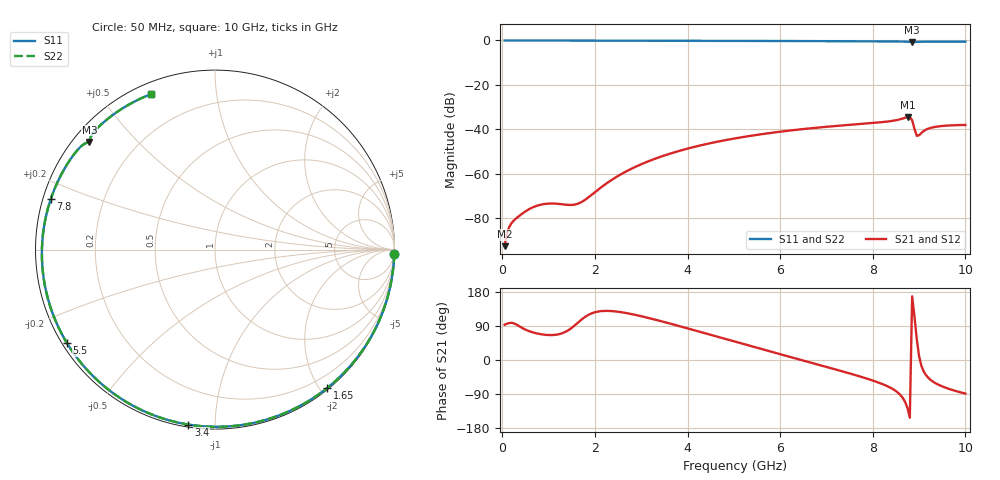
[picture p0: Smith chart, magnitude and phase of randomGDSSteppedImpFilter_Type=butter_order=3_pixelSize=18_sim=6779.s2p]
! freq	dB(S11)	phase(S11)	dB(S12)	phase(S12)
!  dB(S21)	phase(S21)	dB(S22)	phase(S22)
!S-par simulation data
#  GHz  S  DB  R 50
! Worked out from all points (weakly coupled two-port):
!   200 points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, 50 MHz to 10 GHz, reference 50 ohm
!   highest |S21| = -34.42 dB at 8.75 GHz (marker M1); lowest = -92.6 dB at 50 MHz (marker M2)
!   lowest |S11| = -0.7 dB at 8.85 GHz (marker M3), VSWR 24.42, Z = 2.33 + j18.4 ohm
!   |S11| at or under -10 dB: nowhere
!   |S22| runs from -0.7 to 0.0 dB; largest |S21 - S12| = 0
!   S11 on the Smith chart (normalised r, x): 50 MHz: 1, -74; 1.65 GHz: 0.02, -2.10; 3.4 GHz: 0.01, -0.86; 5.5 GHz: 0.01, -0.29; 7.8 GHz: 0.02, +0.15; 10 GHz: 0.05, +0.67
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0.05  -0.00 -1.5  -92.56 93.1  -92.56 93.1  -0.00 -1.5
0.3  -0.02 -9.5  -80.04 93.9  -80.04 93.9  -0.02 -9.5
0.6  -0.03 -18.9  -75.68 75.2  -75.68 75.2  -0.03 -18.9
0.85  -0.03 -26.7  -73.81 67.7  -73.81 67.7  -0.03 -26.7
1.5  -0.06 -46.5  -74.01 84.9  -74.01 84.9  -0.06 -46.5
1.65  -0.06 -50.9  -73.31 100.4  -73.31 100.4  -0.06 -50.9
1.75  -0.07 -53.8  -72.21 110.4  -72.21 110.4  -0.07 -53.8
2.55  -0.09 -76.4  -60.35 126.5  -60.35 126.5  -0.09 -76.4
3.4  -0.12 -98.7  -52.46 103.4  -52.46 103.4  -0.12 -98.7
4.15  -0.15 -117.0  -47.87 78.4  -47.87 78.4  -0.15 -117.0
5.05  -0.19 -137.7  -43.97 47.5  -43.97 47.5  -0.19 -137.7
5.5  -0.22 -147.6  -42.47 32.2  -42.47 32.2  -0.22 -147.6
6.7  -0.29 -173.5  -39.44 -8.1  -39.44 -8.1  -0.29 -173.5
7.8  -0.38 162.8  -37.47 -46.3  -37.47 -46.3  -0.38 162.8
8.35  -0.43 150.5  -36.40 -71.2  -36.40 -71.2  -0.43 150.5
8.75  -0.57 141.0  -34.42 -127.0  -34.42 -127.0  -0.57 141.0
8.8  -0.64 140.0  -34.43 -152.2  -34.43 -152.2  -0.64 140.0
8.85  -0.71 139.4  -35.89 168.1  -35.89 168.1  -0.71 139.5
8.95  -0.60 138.0  -42.88 55.3  -42.88 55.3  -0.60 138.1
9.15  -0.52 133.1  -40.12 -40.0  -40.12 -40.0  -0.52 133.1
9.3  -0.52 129.4  -39.08 -57.1  -39.08 -57.1  -0.52 129.5
10  -0.57 112.4  -38.01 -88.8  -38.01 -88.8  -0.57 112.5
